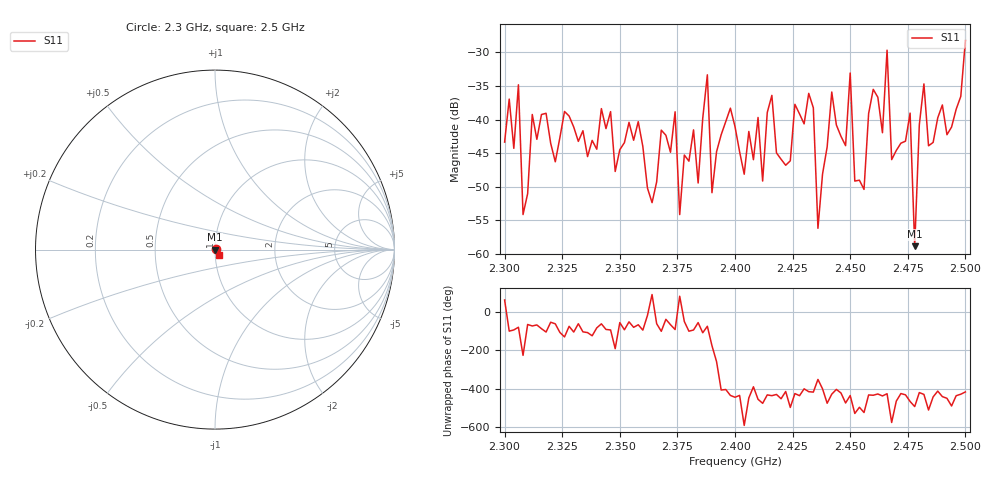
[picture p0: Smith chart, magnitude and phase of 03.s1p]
# HZ S RI R 50
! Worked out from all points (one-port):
!   101 points, 2.3 GHz to 2.5 GHz, reference 50 ohm
!   lowest |S11| = -58.8 dB at 2.478 GHz (marker M1), VSWR 1.00, Z = 49.9 - j0.0816 ohm
!   |S11| at or under -10 dB: start of sweep to end of sweep
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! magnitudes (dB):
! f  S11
! 2.3 GHz  -43.4
! 2.306 GHz  -34.8
! 2.308 GHz  -54.1
! 2.312 GHz  -39.2
! 2.326 GHz  -38.8
! 2.35 GHz  -44.5
! 2.364 GHz  -52.4
! 2.374 GHz  -38.9
! 2.376 GHz  -54.1
! 2.388 GHz  -33.3
! 2.39 GHz  -50.9
! 2.4 GHz  -41.0
! 2.412 GHz  -49.2
! 2.426 GHz  -37.7
! 2.434 GHz  -38.3
! 2.436 GHz  -56.2
! 2.442 GHz  -35.9
! 2.448 GHz  -43.9
! 2.45 GHz  -33.1
! 2.452 GHz  -49.2
! 2.456 GHz  -50.4
! 2.466 GHz  -29.7
! 2.468 GHz  -46.0
! 2.476 GHz  -39.0
! 2.478 GHz  -58.8
! 2.482 GHz  -34.7
! 2.492 GHz  -42.3
! 2.5 GHz  -28.2
